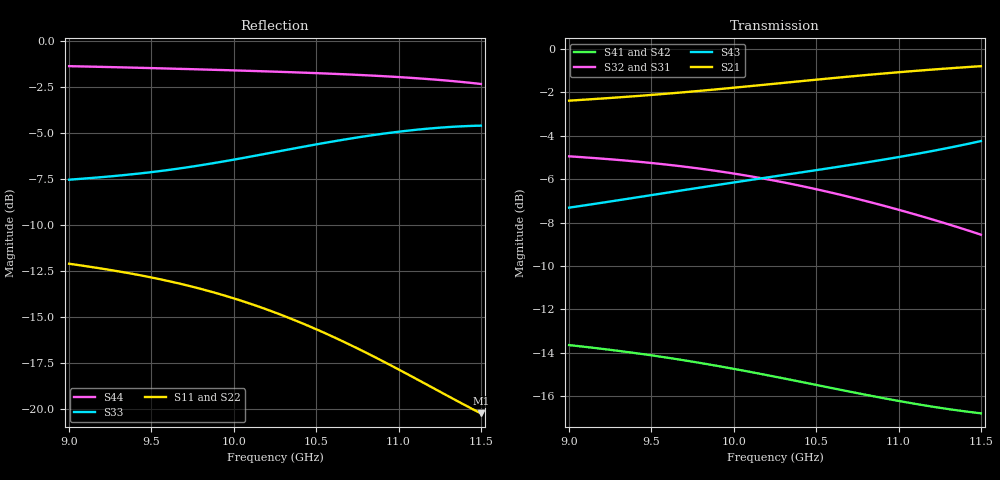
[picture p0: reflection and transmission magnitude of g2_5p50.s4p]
! Touchstone file exported from HFSS 2025.2.4
!  File:  C:/Users/chaoy/Documents/single_magictee_v1_g2_550/single_magictee_v1.aedt
!  Generated:  08:54:03 AM Sep 19, 2026
!  Design:  SingleMagicT_v1
!  Project:  single_magictee_v1
! Variables:
!  f_adapt = 10.2GHz
!  ridge_g1 = 7.672mm
!  ridge_g2 = 5.5mm
!  ridge_l1 = 9.872mm
!  ridge_l2 = 8.857mm
!  ridge_w = 4.572mm
!  wg_a = 22.86mm
!  wg_b = 10.16mm
!Data is not renormalized
# GHz S MA
! Terminal data exported
! Port[1] = P1_CollinearMinusX
! Port[2] = P2_CollinearPlusX
! Port[3] = P3_HArm_Ridged
! Port[4] = P4_EArm
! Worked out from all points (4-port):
!   101 points, 9 GHz to 11.5 GHz, reference per port
!   strongest paths, dB at 9 GHz, 9.625 GHz, 10.25 GHz, 10.88 GHz, 11.5 GHz:
!     S21: -2.4, -2.1, -1.6, -1.2, -0.8
!     S43: -7.3, -6.6, -5.9, -5.1, -4.3
!     S32: -5.0, -5.4, -6.1, -7.2, -8.6
!     S31: -5.0, -5.4, -6.1, -7.2, -8.6
!     S41: -13.6, -14.3, -15.1, -16.0, -16.8
!     S42: -13.7, -14.3, -15.2, -16.1, -16.9
!   lowest |S11| = -20.3 dB at 11.5 GHz (marker M1), VSWR 1.22
!   |S11| at or under -10 dB: start of sweep to end of sweep
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9  0.2478 -6.1  0.7592 -170.4  0.5648 113.5  0.208 70.8
   0.7592 -170.4  0.2477 -6.0  0.5653 113.6  0.2067 71.1
   0.5648 113.5  0.5653 113.6  0.4193 -135.3  0.4307 126.3
   0.208 70.8  0.2067 71.1  0.4307 126.3  0.8535 -120.3
9.55  0.225 -73.6  0.7853 125.9  0.5425 45.7  0.1957 -2.6
      0.7853 125.9  0.2245 -73.6  0.5432 45.7  0.1944 -2.3
      0.5425 45.7  0.5432 45.7  0.4425 148.9  0.4634 59.6
      0.1957 -2.6  0.1944 -2.3  0.4634 59.6  0.8421 171.3
9.9  0.2058 -115.0  0.8065 86.9  0.5221 3.2  0.1863 -48.1
     0.8065 86.9  0.2051 -115.0  0.5228 3.2  0.1849 -47.9
     0.5221 3.2  0.5228 3.2  0.467 100.8  0.4857 17.9
     0.1863 -48.1  0.1849 -47.9  0.4857 17.9  0.8338 129.7
10.225  0.1844 -152.3  0.8287 51.3  0.498 -35.7  0.1767 -89.7
        0.8287 51.3  0.1837 -152.4  0.4988 -35.7  0.1753 -89.5
        0.498 -35.7  0.4988 -35.7  0.4962 57.0  0.5069 -20.3
        0.1767 -89.7  0.1753 -89.5  0.5069 -20.3  0.8253 92.0
10.825  0.1404 141.7  0.871 -13.6  0.4431 -106.0  0.1592 -164.7
        0.871 -13.6  0.1402 141.4  0.4437 -106.1  0.1576 -164.6
        0.4431 -106.0  0.4437 -106.1  0.5527 -20.3  0.549 -90.0
        0.1592 -164.7  0.1576 -164.6  0.549 -90.0  0.8053 23.9
11.15  0.1177 106.9  0.8918 -48.4  0.4099 -143.4  0.1513 155.4
       0.8918 -48.4  0.1181 106.6  0.4104 -143.5  0.1496 155.3
       0.4099 -143.4  0.4104 -143.5  0.5757 -60.6  0.5763 -127.4
       0.1513 155.4  0.1496 155.3  0.5763 -127.4  0.7891 -12.6
11.5  0.09716 68.0  0.9113 -85.9  0.3729 176.8  0.1449 112.4
      0.9113 -85.9  0.09824 67.9  0.3733 176.6  0.1431 112.2
      0.3729 176.8  0.3733 176.6  0.5882 -103.7  0.6129 -167.7
      0.1449 112.4  0.1431 112.2  0.6129 -167.7  0.7635 -51.8
